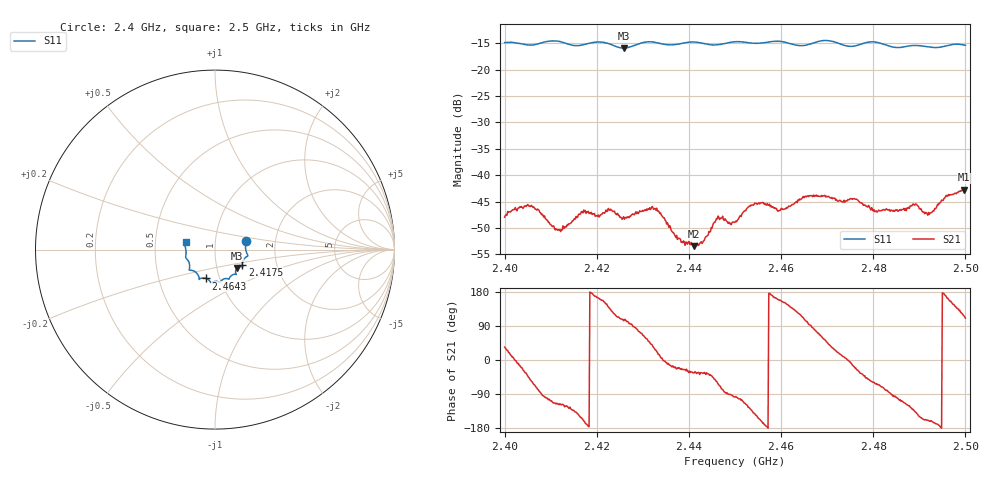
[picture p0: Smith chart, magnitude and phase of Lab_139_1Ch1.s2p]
# Hz S RI R 50
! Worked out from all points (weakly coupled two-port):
!   601 points, 2.4 GHz to 2.5 GHz, reference 50 ohm
!   highest |S21| = -42.74 dB at 2.4997 GHz (marker M1); lowest = -53.4 dB at 2.441 GHz (marker M2)
!   lowest |S11| = -15.9 dB at 2.4258 GHz (marker M3), VSWR 1.38, Z = 62.3 - j13.2 ohm
!   |S11| at or under -10 dB: start of sweep to end of sweep
!   S12 and S22 are empty: the file has one direction only
!   S11 on the Smith chart (normalised r, x): 2.4 GHz: 1.41, +0.14; 2.4175 GHz: 1.34, -0.23; 2.4643 GHz: 0.86, -0.28; 2.5 GHz: 0.72, +0.06
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2.4e9  0.1729 0.0488  0.00331 0.00223  0 0  0 0
2.4055e9  0.1701 0.0083  0.00318 -0.00396  0 0  0 0
2.412e9  0.1803 -0.0373  -0.00131 -0.00275  0 0  0 0
2.416667e9  0.1528 -0.0742  -0.004 -0.00211  0 0  0 0
2.4175e9  0.1518 -0.0836  -0.00452 -0.00105  0 0  0 0
2.423e9  0.1455 -0.094  -0.00325 0.0035  0 0  0 0
2.425833e9  0.1218 -0.1031  -0.000949 0.00393  0 0  0 0
2.433333e9  0.1133 -0.1372  0.00444 0.00118  0 0  0 0
2.437333e9  0.0853 -0.1505  0.00246 -0.00109  0 0  0 0
2.441e9  0.0774 -0.1648  0.00176 -0.00119  0 0  0 0
2.443333e9  0.0679 -0.1619  0.00203 -0.00131  0 0  0 0
2.446333e9  0.0451 -0.1657  0.00184 -0.00367  0 0  0 0
2.45e9  0.0291 -0.1809  -0.000468 -0.00355  0 0  0 0
2.454e9  0.0105 -0.1767  -0.00398 -0.00334  0 0  0 0
2.459667e9  -0.0239 -0.1832  -0.00429 0.00177  0 0  0 0
2.464333e9  -0.0499 -0.1605  -0.00273 0.00527  0 0  0 0
2.466667e9  -0.0756 -0.1591  0.00037 0.00636  0 0  0 0
2.483333e9  -0.1409 -0.09  0.000444 -0.00466  0 0  0 0
2.489e9  -0.1628 -0.0452  -0.00372 -0.00363  0 0  0 0
2.492167e9  -0.1613 -0.0237  -0.00403 -0.00136  0 0  0 0
2.499667e9  -0.1658 0.0411  -0.00329 0.00651  0 0  0 0
2.5e9  -0.1641 0.0431  -0.00244 0.00657  0 0  0 0
